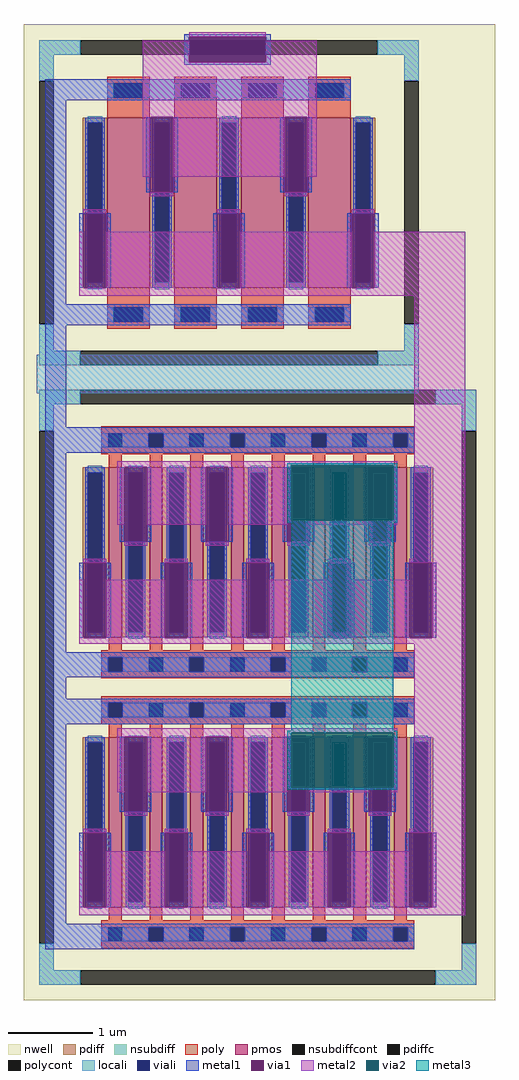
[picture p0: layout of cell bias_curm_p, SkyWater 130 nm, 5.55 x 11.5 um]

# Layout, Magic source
magic
tech sky130A
magscale 1 2
<< nwell >>
rect -10 1380 1100 1390
rect 940 550 1100 1380
rect 172 376 910 442
rect 286 370 316 376
rect 478 370 508 376
rect 670 370 700 376
rect 862 370 892 376
rect 190 -86 220 -80
rect 382 -86 412 -80
rect 574 -86 604 -80
rect 766 -86 796 -80
rect 172 -152 910 -86
rect 172 -260 910 -194
rect 190 -266 220 -260
rect 382 -266 412 -260
rect 574 -266 604 -260
rect 766 -266 796 -260
rect 286 -722 316 -716
rect 478 -722 508 -716
rect 670 -722 700 -716
rect 862 -722 892 -716
rect 172 -788 910 -722
rect 1080 -910 1100 550
<< poly >>
rect 172 426 910 442
rect 172 392 284 426
rect 318 392 476 426
rect 510 392 668 426
rect 702 392 860 426
rect 894 392 910 426
rect 172 376 910 392
rect 286 370 316 376
rect 478 370 508 376
rect 670 370 700 376
rect 862 370 892 376
rect 190 -86 220 -80
rect 382 -86 412 -80
rect 574 -86 604 -80
rect 766 -86 796 -80
rect 172 -102 910 -86
rect 172 -136 188 -102
rect 222 -136 380 -102
rect 414 -136 572 -102
rect 606 -136 764 -102
rect 798 -136 910 -102
rect 172 -152 910 -136
rect 172 -210 910 -194
rect 172 -244 188 -210
rect 222 -244 380 -210
rect 414 -244 572 -210
rect 606 -244 764 -210
rect 798 -244 910 -210
rect 172 -260 910 -244
rect 190 -266 220 -260
rect 382 -266 412 -260
rect 574 -266 604 -260
rect 766 -266 796 -260
rect 286 -722 316 -716
rect 478 -722 508 -716
rect 670 -722 700 -716
rect 862 -722 892 -716
rect 172 -738 910 -722
rect 172 -772 284 -738
rect 318 -772 476 -738
rect 510 -772 668 -738
rect 702 -772 860 -738
rect 894 -772 910 -738
rect 172 -788 910 -772
<< polycont >>
rect 284 392 318 426
rect 476 392 510 426
rect 668 392 702 426
rect 860 392 894 426
rect 188 -136 222 -102
rect 380 -136 414 -102
rect 572 -136 606 -102
rect 764 -136 798 -102
rect 188 -244 222 -210
rect 380 -244 414 -210
rect 572 -244 606 -210
rect 764 -244 798 -210
rect 284 -772 318 -738
rect 476 -772 510 -738
rect 668 -772 702 -738
rect 860 -772 894 -738
<< locali >>
rect 20 520 920 610
rect 172 392 284 426
rect 318 392 476 426
rect 510 392 668 426
rect 702 392 860 426
rect 894 392 910 426
rect 172 -136 188 -102
rect 222 -136 380 -102
rect 414 -136 572 -102
rect 606 -136 764 -102
rect 798 -136 910 -102
rect 172 -244 188 -210
rect 222 -244 380 -210
rect 414 -244 572 -210
rect 606 -244 764 -210
rect 798 -244 910 -210
rect 172 -772 284 -738
rect 318 -772 476 -738
rect 510 -772 668 -738
rect 702 -772 860 -738
rect 894 -772 910 -738
<< viali >>
rect 380 1300 560 1360
rect 284 392 318 426
rect 476 392 510 426
rect 668 392 702 426
rect 860 392 894 426
rect 188 -136 222 -102
rect 380 -136 414 -102
rect 572 -136 606 -102
rect 764 -136 798 -102
rect 188 -244 222 -210
rect 380 -244 414 -210
rect 572 -244 606 -210
rect 764 -244 798 -210
rect 284 -772 318 -738
rect 476 -772 510 -738
rect 668 -772 702 -738
rect 860 -772 894 -738
<< metal1 >>
rect 368 1360 572 1366
rect 368 1300 380 1360
rect 560 1300 572 1360
rect 368 1294 572 1300
rect 40 1210 760 1260
rect 40 730 90 1210
rect 278 994 288 1170
rect 342 994 352 1170
rect 594 994 604 1170
rect 658 994 668 1170
rect 120 768 130 944
rect 184 768 194 944
rect 436 768 446 944
rect 500 768 510 944
rect 752 768 762 944
rect 816 768 826 944
rect 40 680 760 730
rect 40 440 90 680
rect 40 426 910 440
rect 40 392 284 426
rect 318 392 476 426
rect 510 392 668 426
rect 702 392 860 426
rect 894 392 910 426
rect 40 380 910 392
rect 40 -90 90 380
rect 216 170 226 346
rect 280 170 290 346
rect 408 170 418 346
rect 472 170 482 346
rect 600 170 610 346
rect 664 170 674 346
rect 792 170 802 346
rect 856 170 866 346
rect 120 -56 130 120
rect 184 -56 194 120
rect 312 -56 322 120
rect 376 -56 386 120
rect 504 -56 514 120
rect 568 -56 578 120
rect 696 -56 706 120
rect 760 -56 770 120
rect 888 -56 898 120
rect 952 -56 962 120
rect 40 -102 910 -90
rect 40 -136 188 -102
rect 222 -136 380 -102
rect 414 -136 572 -102
rect 606 -136 764 -102
rect 798 -136 910 -102
rect 40 -150 910 -136
rect 40 -200 90 -150
rect 40 -210 910 -200
rect 40 -244 188 -210
rect 222 -244 380 -210
rect 414 -244 572 -210
rect 606 -244 764 -210
rect 798 -244 910 -210
rect 40 -260 910 -244
rect 40 -730 90 -260
rect 216 -466 226 -290
rect 280 -466 290 -290
rect 408 -466 418 -290
rect 472 -466 482 -290
rect 600 -466 610 -290
rect 664 -466 674 -290
rect 792 -466 802 -290
rect 856 -466 866 -290
rect 120 -692 130 -516
rect 184 -692 194 -516
rect 312 -692 322 -516
rect 376 -692 386 -516
rect 504 -692 514 -516
rect 568 -692 578 -516
rect 696 -692 706 -516
rect 760 -692 770 -516
rect 888 -692 898 -516
rect 952 -692 962 -516
rect 40 -738 910 -730
rect 40 -772 284 -738
rect 318 -772 476 -738
rect 510 -772 668 -738
rect 702 -772 860 -738
rect 894 -772 910 -738
rect 40 -790 910 -772
<< via1 >>
rect 380 1300 560 1360
rect 288 994 342 1170
rect 604 994 658 1170
rect 130 768 184 944
rect 446 768 500 944
rect 762 768 816 944
rect 226 170 280 346
rect 418 170 472 346
rect 610 170 664 346
rect 802 170 856 346
rect 130 -56 184 120
rect 322 -56 376 120
rect 514 -56 568 120
rect 706 -56 760 120
rect 898 -56 952 120
rect 226 -466 280 -290
rect 418 -466 472 -290
rect 610 -466 664 -290
rect 802 -466 856 -290
rect 130 -692 184 -516
rect 322 -692 376 -516
rect 514 -692 568 -516
rect 706 -692 760 -516
rect 898 -692 952 -516
<< metal2 >>
rect 380 1360 560 1370
rect 270 1300 380 1350
rect 560 1300 680 1350
rect 270 1170 680 1300
rect 270 1030 288 1170
rect 342 1030 604 1170
rect 288 984 342 994
rect 658 1030 680 1170
rect 604 984 658 994
rect 130 944 184 954
rect 120 768 130 900
rect 446 944 500 954
rect 184 768 446 900
rect 762 944 816 954
rect 500 768 762 900
rect 816 768 1030 900
rect 120 750 1030 768
rect 210 350 870 360
rect 210 346 620 350
rect 210 210 226 346
rect 280 210 418 346
rect 226 160 280 170
rect 472 210 610 346
rect 860 220 870 350
rect 418 160 472 170
rect 664 210 802 220
rect 610 160 664 170
rect 856 210 870 220
rect 802 160 856 170
rect 910 130 1030 750
rect 130 120 184 130
rect 120 -56 130 80
rect 322 120 376 130
rect 184 -56 322 80
rect 514 120 568 130
rect 376 -56 514 80
rect 706 120 760 130
rect 568 -56 706 80
rect 898 120 1030 130
rect 760 -56 898 80
rect 952 -56 1030 120
rect 120 -70 1030 -56
rect 210 -280 870 -270
rect 210 -290 620 -280
rect 210 -420 226 -290
rect 280 -420 418 -290
rect 226 -476 280 -466
rect 472 -420 610 -290
rect 860 -410 870 -280
rect 418 -476 472 -466
rect 664 -420 802 -410
rect 610 -476 664 -466
rect 856 -420 870 -410
rect 802 -476 856 -466
rect 910 -506 1030 -70
rect 130 -516 184 -506
rect 120 -692 130 -560
rect 322 -516 376 -506
rect 184 -692 322 -560
rect 514 -516 568 -506
rect 376 -692 514 -560
rect 706 -516 760 -506
rect 568 -692 706 -560
rect 898 -516 1030 -506
rect 760 -692 898 -560
rect 952 -692 1030 -516
rect 120 -710 1030 -692
<< via2 >>
rect 620 346 860 350
rect 620 220 664 346
rect 664 220 802 346
rect 802 220 856 346
rect 856 220 860 346
rect 620 -290 860 -280
rect 620 -410 664 -290
rect 664 -410 802 -290
rect 802 -410 856 -290
rect 856 -410 860 -290
<< metal3 >>
rect 610 350 870 355
rect 610 220 620 350
rect 860 220 870 350
rect 610 215 870 220
rect 620 -275 860 215
rect 610 -280 870 -275
rect 610 -410 620 -280
rect 860 -410 870 -280
rect 610 -415 870 -410
use sky130_fd_pr__pfet_01v8_PDCJZ5  sky130_fd_pr__pfet_01v8_PDCJZ5_0
transform 1 0 473 0 1 969
box -483 -419 483 419
use sky130_fd_pr__pfet_01v8_U4PLGH  sky130_fd_pr__pfet_01v8_U4PLGH_0
transform 1 0 541 0 1 -173
box -551 -737 551 737
<< end >>

# cell sky130_fd_pr__pfet_01v8_PDCJZ5: kit device sky130_fd_pr__pfet_01v8, w 2 l 0.5 m 1 nf 4 diffcov 100 polycov 100 guard 1 glc 1 grc 1 gtc 1 gbc 1 tbcov 100 rlcov 100 topc 1 botc 1 poverlap 0 doverlap 1 lmin 0.15 wmin 0.42 compatible {sky130_fd_pr__pfet_01v8 sky130_fd_pr__pfet_01v8_lvt sky130_fd_pr__pfet_01v8_hvt sky130_fd_pr__pfet_g5v0d10v5} full_metal 1 viasrc 100 viadrn 100 viagate 100 viagb 0 viagr 0 viagl 0 viagt 0

# cell sky130_fd_pr__pfet_01v8_U4PLGH: kit device sky130_fd_pr__pfet_01v8, w 2 l 0.15 m 2 nf 8 diffcov 100 polycov 100 guard 1 glc 1 grc 1 gtc 1 gbc 1 tbcov 100 rlcov 100 topc 1 botc 1 poverlap 0 doverlap 1 lmin 0.15 wmin 0.42 compatible {sky130_fd_pr__pfet_01v8 sky130_fd_pr__pfet_01v8_lvt sky130_fd_pr__pfet_01v8_hvt sky130_fd_pr__pfet_g5v0d10v5} full_metal 1 viasrc 100 viadrn 100 viagate 100 viagb 0 viagr 0 viagl 0 viagt 0
